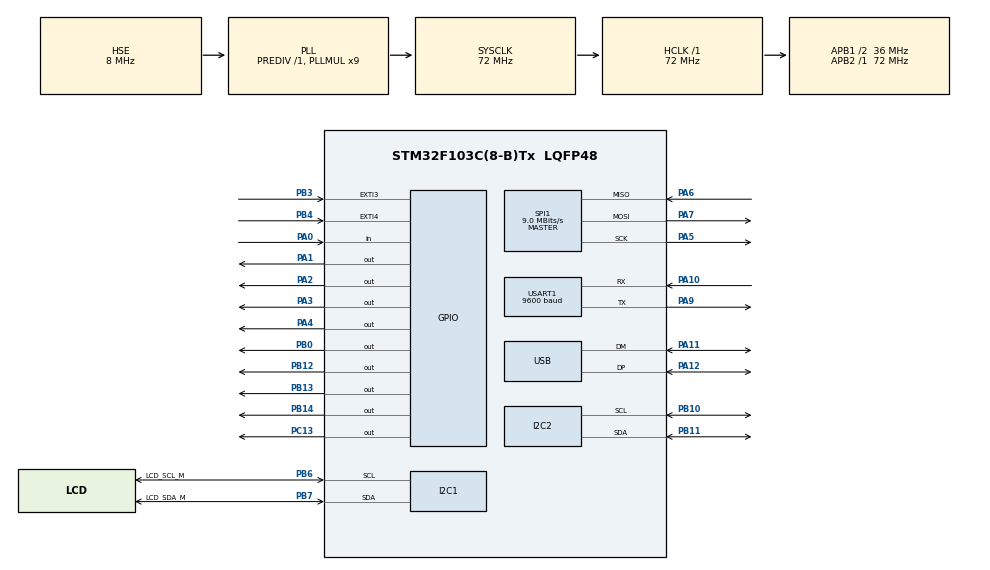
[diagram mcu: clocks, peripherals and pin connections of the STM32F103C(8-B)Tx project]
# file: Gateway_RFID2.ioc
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Mcu.Family=STM32F1
Mcu.Name=STM32F103C(8-B)Tx
Mcu.Package=LQFP48
NVIC.EXTI3_IRQn=true\:0\:0\:false\:false\:true\:true\:true\:true
NVIC.EXTI4_IRQn=true\:0\:0\:false\:false\:true\:true\:true\:true
NVIC.PriorityGroup=NVIC_PRIORITYGROUP_4
NVIC.TIM4_IRQn=true\:0\:0\:false\:false\:true\:true\:true\:true
NVIC.USART1_IRQn=true\:0\:0\:false\:false\:true\:true\:true\:true
NVIC.USB_LP_CAN1_RX0_IRQn=true\:0\:0\:false\:false\:true\:false\:true\:true
PA0-WKUP.Signal=GPIO_Input
PA1.Signal=GPIO_Output
PA10.Mode=Asynchronous
PA10.Signal=USART1_RX
PA11.Mode=Device
PA11.Signal=USB_DM
PA12.Mode=Device
PA12.Signal=USB_DP
PA13.Mode=Serial_Wire
PA13.Signal=SYS_JTMS-SWDIO
PA14.Mode=Serial_Wire
PA14.Signal=SYS_JTCK-SWCLK
PA2.Signal=GPIO_Output
PA3.Signal=GPIO_Output
PA4.Signal=GPIO_Output
PA5.Mode=Full_Duplex_Master
PA5.Signal=SPI1_SCK
PA6.Mode=Full_Duplex_Master
PA6.Signal=SPI1_MISO
PA7.Mode=Full_Duplex_Master
PA7.Signal=SPI1_MOSI
PA9.Mode=Asynchronous
PA9.Signal=USART1_TX
PB0.Signal=GPIO_Output
PB10.Mode=I2C
PB10.Signal=I2C2_SCL
PB11.Mode=I2C
PB11.Signal=I2C2_SDA
PB12.Signal=GPIO_Output
PB13.Signal=GPIO_Output
PB14.Signal=GPIO_Output
PB3.GPIO_ModeDefaultEXTI=GPIO_MODE_IT_FALLING
PB3.GPIO_PuPd=GPIO_PULLUP
PB3.Signal=GPXTI3
PB4.GPIO_ModeDefaultEXTI=GPIO_MODE_IT_FALLING
PB4.GPIO_PuPd=GPIO_PULLUP
PB4.Signal=GPXTI4
PB6.GPIO_Label=LCD_SCL_M
PB6.Mode=I2C
PB6.Signal=I2C1_SCL
PB7.GPIO_Label=LCD_SDA_M
PB7.Mode=I2C
PB7.Signal=I2C1_SDA
PC13-TAMPER-RTC.Signal=GPIO_Output
PD0-OSC_IN.Mode=HSE-External-Oscillator
PD0-OSC_IN.Signal=RCC_OSC_IN
PD1-OSC_OUT.Mode=HSE-External-Oscillator
PD1-OSC_OUT.Signal=RCC_OSC_OUT
ProjectManager.HeapSize=0x200
ProjectManager.StackSize=0x400
ProjectManager.TargetToolchain=STM32CubeIDE
RCC.AHBFreq_Value=72000000
RCC.APB1CLKDivider=RCC_HCLK_DIV2
RCC.APB1Freq_Value=36000000
RCC.APB1TimFreq_Value=72000000
RCC.APB2Freq_Value=72000000
RCC.APB2TimFreq_Value=72000000
RCC.HCLKFreq_Value=72000000
RCC.PLLMUL=RCC_PLL_MUL9
RCC.PLLSourceVirtual=RCC_PLLSOURCE_HSE
RCC.SYSCLKFreq_VALUE=72000000
RCC.SYSCLKSource=RCC_SYSCLKSOURCE_PLLCLK
RCC.USBFreq_Value=48000000
RCC.USBPrescaler=RCC_USBCLKSOURCE_PLL_DIV1_5
SPI1.BaudRatePrescaler=SPI_BAUDRATEPRESCALER_8
SPI1.CalculateBaudRate=9.0 MBits/s
SPI1.Direction=SPI_DIRECTION_2LINES
SPI1.Mode=SPI_MODE_MASTER
SPI1.VirtualType=VM_MASTER
TIM1.Period=0xffff-1
TIM1.Prescaler=72-1
TIM4.Period=19999
TIM4.Prescaler=7199
USART1.BaudRate=9600
USART1.VirtualMode=VM_ASYNC
USB_DEVICE.CLASS_NAME_FS=CDC
USB_DEVICE.VirtualMode=Cdc
USB_DEVICE.VirtualModeFS=Cdc_FS
VP_TIM1_VS_ClockSourceINT.Mode=Internal
VP_TIM4_VS_ClockSourceINT.Mode=Internal
VP_USB_DEVICE_VS_USB_DEVICE_CDC_FS.Mode=CDC_FS
board=custom

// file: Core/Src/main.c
/* USER CODE BEGIN Header */
/**
  ******************************************************************************
  * @file           : main.c
  * @brief          : Main program body
  ******************************************************************************
  * @attention
  *
  * Copyright (c) 2024 STMicroelectronics.
  * All rights reserved.
  *
  * This software is licensed under terms that can be found in the LICENSE file
  * in the root directory of this software component.
  * If no LICENSE file comes with this software, it is provided AS-IS.
  *
  ******************************************************************************
  */
/* USER CODE END Header */
#include "main.h"
#include "usb_device.h"

/* USER CODE BEGIN Includes */
#include <stdlib.h>
#include <time.h>
#include "usbd_cdc_if.h"
#include "string.h"
#include "i2c-lcd.h"
#include "mfrc522.h"
/* USER CODE END Includes */

/* USER CODE BEGIN PTD */
//buffer usb
char TxBuffer[50];
char RxBuffer[64];
//buffer Uart1
uint8_t txBuffer_1[5];
uint8_t rxBuffer_1[5];
int dataValid;
uint8_t status;
uint8_t str[MAX_LEN]; // Max_LEN = 16
uint8_t sNum[5];
uint8_t slaveID_lst[2] ={0xf0,0xf1};

char fee=0;

uint8_t node_num=0;
uint8_t numSpace_pre_L1=32;
uint8_t numSpace_pre_L2=30;
uint8_t numSpace_L1=32;
uint8_t numSpace_L2=30;

char buf_numcar[16];
/* USER CODE END PTD */

/* USER CODE BEGIN PD */
#define stepsperrev 4096
/* USER CODE END PD */

I2C_HandleTypeDef hi2c1;
I2C_HandleTypeDef hi2c2;

SPI_HandleTypeDef hspi1;

TIM_HandleTypeDef htim1;
TIM_HandleTypeDef htim4;

UART_HandleTypeDef huart1;

void SystemClock_Config(void);
static void MX_GPIO_Init(void);
static void MX_I2C1_Init(void);
static void MX_SPI1_Init(void);
static void MX_TIM1_Init(void);
static void MX_USART1_UART_Init(void);
static void MX_I2C2_Init(void);
static void MX_TIM4_Init(void);

/* USER CODE BEGIN 0 */
void RS485_SendCommand(uint8_t slaveID)
{
    txBuffer_1[0] = slaveID;  // �?ịa chỉ Slave
    txBuffer_1[1] = '\n';     // Ký tự kết thúc
    HAL_UART_Transmit(&huart1, txBuffer_1, 5, HAL_MAX_DELAY);
}
void delay (uint16_t us)
{
  __HAL_TIM_SET_COUNTER(&htim1, 0);
  while (__HAL_TIM_GET_COUNTER(&htim1) < us);
}
void stepper_set_rpm (int rpm)  // Set rpm--> max 13, min 1,,,  went to 14 rev/min
{
	delay(60000000/stepsperrev/rpm);
}
void stepper_half_drive (int step)
{
  switch (step){
      case 0:
		  HAL_GPIO_WritePin(GPIOA, GPIO_PIN_0, GPIO_PIN_SET);   // IN1
		  HAL_GPIO_WritePin(GPIOA, GPIO_PIN_1, GPIO_PIN_RESET);   // IN2
		  HAL_GPIO_WritePin(GPIOA, GPIO_PIN_2, GPIO_PIN_RESET);   // IN3
		  HAL_GPIO_WritePin(GPIOA, GPIO_PIN_3, GPIO_PIN_RESET);   // IN4
		  break;

	  case 1:
		  HAL_GPIO_WritePin(GPIOA, GPIO_PIN_0, GPIO_PIN_SET);   // IN1
		  HAL_GPIO_WritePin(GPIOA, GPIO_PIN_1, GPIO_PIN_SET);   // IN2
		  HAL_GPIO_WritePin(GPIOA, GPIO_PIN_2, GPIO_PIN_RESET);   // IN3
		  HAL_GPIO_WritePin(GPIOA, GPIO_PIN_3, GPIO_PIN_RESET);   // IN4
		  break;

          case 2:
		  HAL_GPIO_WritePin(GPIOA, GPIO_PIN_0, GPIO_PIN_RESET);   // IN1
		  HAL_GPIO_WritePin(GPIOA, GPIO_PIN_1, GPIO_PIN_SET);   // IN2
		  HAL_GPIO_WritePin(GPIOA, GPIO_PIN_2, GPIO_PIN_RESET);   // IN3
		  HAL_GPIO_WritePin(GPIOA, GPIO_PIN_3, GPIO_PIN_RESET);   // IN4
		  break;

	  case 3:
		  HAL_GPIO_WritePin(GPIOA, GPIO_PIN_0, GPIO_PIN_RESET);   // IN1
		  HAL_GPIO_WritePin(GPIOA, GPIO_PIN_1, GPIO_PIN_SET);   // IN2
		  HAL_GPIO_WritePin(GPIOA, GPIO_PIN_2, GPIO_PIN_SET);   // IN3
		  HAL_GPIO_WritePin(GPIOA, GPIO_PIN_3, GPIO_PIN_RESET);   // IN4
		  break;

	  case 4:
		  HAL_GPIO_WritePin(GPIOA, GPIO_PIN_0, GPIO_PIN_RESET);   // IN1
		  HAL_GPIO_WritePin(GPIOA, GPIO_PIN_1, GPIO_PIN_RESET);   // IN2
		  HAL_GPIO_WritePin(GPIOA, GPIO_PIN_2, GPIO_PIN_SET);   // IN3
		  HAL_GPIO_WritePin(GPIOA, GPIO_PIN_3, GPIO_PIN_RESET);   // IN4
		  break;

	  case 5:
		  HAL_GPIO_WritePin(GPIOA, GPIO_PIN_0, GPIO_PIN_RESET);   // IN1
		  HAL_GPIO_WritePin(GPIOA, GPIO_PIN_1, GPIO_PIN_RESET);   // IN2
		  HAL_GPIO_WritePin(GPIOA, GPIO_PIN_2, GPIO_PIN_SET);   // IN3
		  HAL_GPIO_WritePin(GPIOA, GPIO_PIN_3, GPIO_PIN_SET);   // IN4
		  break;

	  case 6:
		  HAL_GPIO_WritePin(GPIOA, GPIO_PIN_0, GPIO_PIN_RESET);   // IN1
		  HAL_GPIO_WritePin(GPIOA, GPIO_PIN_1, GPIO_PIN_RESET);   // IN2
		  HAL_GPIO_WritePin(GPIOA, GPIO_PIN_2, GPIO_PIN_RESET);   // IN3
		  HAL_GPIO_WritePin(GPIOA, GPIO_PIN_3, GPIO_PIN_SET);   // IN4
		  break;

	  case 7:
		  HAL_GPIO_WritePin(GPIOA, GPIO_PIN_0, GPIO_PIN_SET);   // IN1
		  HAL_GPIO_WritePin(GPIOA, GPIO_PIN_1, GPIO_PIN_RESET);   // IN2
		  HAL_GPIO_WritePin(GPIOA, GPIO_PIN_2, GPIO_PIN_RESET);   // IN3
		  HAL_GPIO_WritePin(GPIOA, GPIO_PIN_3, GPIO_PIN_SET);   // IN4
		  break;

	}
}
void stepper_step_angle (float angle, int direction, int rpm) //direction-> 0 for CK, 1 for CCK
{
  float anglepersequence = 0.703125;  // 360 = 512 sequences
  int numberofsequences = (int) (angle/anglepersequence);
  for (int seq=0; seq<numberofsequences; seq++)
  {
	if (direction == 0)  // for clockwise
	{
      for (int step=7; step>=0; step--)
	  {
	    stepper_half_drive(step);
	    stepper_set_rpm(rpm);
	  }
	}
	else if (direction == 1)  // for anti-clockwise
	{
	  for (int step=0; step<=7; step++)
	  {
	    stepper_half_drive(step);
	    stepper_set_rpm(rpm);
	  }
	}
  }
}
float currentAngle = 0;
void Stepper_rotate (int angle, int rpm)
{
	int changeinangle = 0;
	changeinangle = angle-currentAngle;  // calculate the angle by which the motor needed to be rotated
	if (changeinangle > 0.71)  // clockwise
	{
		stepper_step_angle (changeinangle,0,rpm);
		currentAngle = angle;  // save the angle as current angle
	}
	else if (changeinangle <0.71) // CCK
	{
		changeinangle = -(changeinangle);
		stepper_step_angle (changeinangle,1,rpm);
		currentAngle = angle;
	}
}

void HAL_GPIO_EXTI_Callback(uint16_t GPIO_Pin)
{
	UNUSED(GPIO_Pin);
     if (GPIO_Pin == GPIO_PIN_4)
    {
        while(HAL_GPIO_ReadPin(GPIOB,GPIO_PIN_3)==0)
           {};
        lcd_set_i2c(&hi2c1);
        lcd_clear();
		HAL_GPIO_WritePin(GPIOB, GPIO_PIN_12, 1);
		HAL_GPIO_WritePin(GPIOB, GPIO_PIN_13, 0);
        Stepper_rotate(0, 13);

    }
    else if (GPIO_Pin == GPIO_PIN_3)
    {
      while(HAL_GPIO_ReadPin(GPIOB,GPIO_PIN_4)==0)
        {};
         lcd_set_i2c(&hi2c1);
         lcd_clear();
		 HAL_GPIO_WritePin(GPIOB, GPIO_PIN_13, 1);
		 HAL_GPIO_WritePin(GPIOB, GPIO_PIN_12, 0);
		 Stepper_rotate(90, 10);
    }
}
void HAL_UART_RxCpltCallback(UART_HandleTypeDef *huart)
{
    if (huart->Instance == USART1)
    {
        if (rxBuffer_1[0] == 0xF0)
        {
            numSpace_L1 = rxBuffer_1[1];

        }

        if (rxBuffer_1[0] == 0xF1)
		{
			numSpace_L2 = rxBuffer_1[1];
		}
		HAL_UART_Receive_IT(&huart1, rxBuffer_1, 5); // Continue receiving
     }
}

void HAL_TIM_PeriodElapsedCallback(TIM_HandleTypeDef *htim)
{
    if (htim->Instance == TIM4)  // Kiểm tra nếu ngắt từ Timer 3
    {
    	if (node_num==0)
    	{
    		RS485_SendCommand(slaveID_lst[0]);
    		node_num = 1;
    	}else if (node_num==1)
    	{
			RS485_SendCommand(slaveID_lst[1]);
			node_num = 0;
		}
    }
}
/* USER CODE END 0 */

int main(void)
{

  /* MCU Configuration--------------------------------------------------------*/

  /* Reset of all peripherals, Initializes the Flash interface and the Systick. */
  HAL_Init();

  /* Configure the system clock */
  SystemClock_Config();

  /* Initialize all configured peripherals */
  MX_GPIO_Init();
  MX_I2C1_Init();
  MX_USB_DEVICE_Init();
  MX_SPI1_Init();
  MX_TIM1_Init();
  MX_USART1_UART_Init();
  MX_I2C2_Init();
  MX_TIM4_Init();
  /* USER CODE BEGIN 2 */
  MFRC522_Init();
  lcd_set_i2c(&hi2c1);
  lcd_init();

  lcd_set_i2c(&hi2c2);
  lcd_init();
  lcd_clear();
  lcd_put_cur(0,0);
  lcd_send_string("L1 con: 32 cho");
  lcd_put_cur(1,0);
  lcd_send_string("L2 con: 30 cho");
  HAL_TIM_Base_Start(&htim1);
  HAL_TIM_Base_Start_IT(&htim4);
  HAL_UART_Receive_IT(&huart1, rxBuffer_1, 5);
//  HAL_TIM_Base_Start_IT(&htim3);
  /* USER CODE END 2 */

  /* Infinite loop */
  /* USER CODE BEGIN WHILE */
  while (1)
  {

		 dataValid=1;
		 memset(str, 0, sizeof(str));
		 status = MFRC522_Request(PICC_REQIDL, str);
		 if (status != MI_OK)
		 {
			 dataValid = 0;
		 }

		 status = MFRC522_Anticoll(str);
		 if (status != MI_OK)
		 {
			  dataValid = 0;
		 }
		  if (dataValid)
		  {
			  // Chuyển đổi dữ liệu từ byte sang dạng hex
			memcpy(sNum, str, 5);
			char hexBuffer[16];
			for (int i = 0; i < 5; i++)
			{
				sprintf(&hexBuffer[i * 3], "%02X ", sNum[i]);
	        }

			// Chuẩn bị chuỗi dữ liệu cần gửi qua USB
			sprintf(TxBuffer, "%s\n", hexBuffer);

			// Gửi dữ liệu qua USB
			CDC_Transmit_FS((uint8_t*)TxBuffer, strlen(TxBuffer));
				// Tín hiệu báo thành công

			 HAL_GPIO_WritePin(GPIOC, GPIO_PIN_13, 0);
			 HAL_GPIO_WritePin(GPIOB, GPIO_PIN_14, 0);

			HAL_Delay(1000);
		  } else
		  {
			  // Nếu không có dữ liệu hợp lệ
			  HAL_GPIO_WritePin(GPIOC, GPIO_PIN_13, 1);  // Tắt đèn LED báo ko có thẻ
			  HAL_GPIO_WritePin(GPIOB, GPIO_PIN_14, 1
					  );
	      }
//Hien thi tien
		  if (fee!=0){
		  	lcd_set_i2c(&hi2c1);
		    lcd_clear();
		    lcd_put_cur(0, 0);
		    lcd_send_string (RxBuffer);
		    fee =0;
		  }
		  if (numSpace_L1 != numSpace_pre_L1)
		  {
			  lcd_set_i2c(&hi2c2);
			  lcd_put_cur(0,0);
			  sprintf(buf_numcar,"L1 con: %d cho",(int)numSpace_L1);
			  lcd_send_string(buf_numcar);
			  numSpace_pre_L1 = numSpace_L1;
		  }
		  if (numSpace_L2 != numSpace_pre_L2)
		  {
			  lcd_set_i2c(&hi2c2);
			  lcd_put_cur(1,0);
			  sprintf(buf_numcar,"L2 con: %d cho",(int)numSpace_L2);
			  lcd_send_string(buf_numcar);
			  numSpace_pre_L2 = numSpace_L2;
		  }

    /* USER CODE END WHILE */

  }
}

void SystemClock_Config(void)
{
  RCC_OscInitTypeDef RCC_OscInitStruct = {0};
  RCC_ClkInitTypeDef RCC_ClkInitStruct = {0};
  RCC_PeriphCLKInitTypeDef PeriphClkInit = {0};

  /** Initializes the RCC Oscillators according to the specified parameters
  * in the RCC_OscInitTypeDef structure.
  */
  RCC_OscInitStruct.OscillatorType = RCC_OSCILLATORTYPE_HSE;
  RCC_OscInitStruct.HSEState = RCC_HSE_ON;
  RCC_OscInitStruct.HSEPredivValue = RCC_HSE_PREDIV_DIV1;
  RCC_OscInitStruct.HSIState = RCC_HSI_ON;
  RCC_OscInitStruct.PLL.PLLState = RCC_PLL_ON;
  RCC_OscInitStruct.PLL.PLLSource = RCC_PLLSOURCE_HSE;
  RCC_OscInitStruct.PLL.PLLMUL = RCC_PLL_MUL9;
  if (HAL_RCC_OscConfig(&RCC_OscInitStruct) != HAL_OK)
  {
    Error_Handler();
  }

  /** Initializes the CPU, AHB and APB buses clocks
  */
  RCC_ClkInitStruct.ClockType = RCC_CLOCKTYPE_HCLK|RCC_CLOCKTYPE_SYSCLK
                              |RCC_CLOCKTYPE_PCLK1|RCC_CLOCKTYPE_PCLK2;
  RCC_ClkInitStruct.SYSCLKSource = RCC_SYSCLKSOURCE_PLLCLK;
  RCC_ClkInitStruct.AHBCLKDivider = RCC_SYSCLK_DIV1;
  RCC_ClkInitStruct.APB1CLKDivider = RCC_HCLK_DIV2;
  RCC_ClkInitStruct.APB2CLKDivider = RCC_HCLK_DIV1;

  if (HAL_RCC_ClockConfig(&RCC_ClkInitStruct, FLASH_LATENCY_2) != HAL_OK)
  {
    Error_Handler();
  }
  PeriphClkInit.PeriphClockSelection = RCC_PERIPHCLK_USB;
  PeriphClkInit.UsbClockSelection = RCC_USBCLKSOURCE_PLL_DIV1_5;
  if (HAL_RCCEx_PeriphCLKConfig(&PeriphClkInit) != HAL_OK)
  {
    Error_Handler();
  }
}

static void MX_I2C1_Init(void)
{

  hi2c1.Instance = I2C1;
  hi2c1.Init.ClockSpeed = 100000;
  hi2c1.Init.DutyCycle = I2C_DUTYCYCLE_2;
  hi2c1.Init.OwnAddress1 = 0;
  hi2c1.Init.AddressingMode = I2C_ADDRESSINGMODE_7BIT;
  hi2c1.Init.DualAddressMode = I2C_DUALADDRESS_DISABLE;
  hi2c1.Init.OwnAddress2 = 0;
  hi2c1.Init.GeneralCallMode = I2C_GENERALCALL_DISABLE;
  hi2c1.Init.NoStretchMode = I2C_NOSTRETCH_DISABLE;
  if (HAL_I2C_Init(&hi2c1) != HAL_OK)
  {
    Error_Handler();
  }

}

static void MX_I2C2_Init(void)
{

  hi2c2.Instance = I2C2;
  hi2c2.Init.ClockSpeed = 100000;
  hi2c2.Init.DutyCycle = I2C_DUTYCYCLE_2;
  hi2c2.Init.OwnAddress1 = 0;
  hi2c2.Init.AddressingMode = I2C_ADDRESSINGMODE_7BIT;
  hi2c2.Init.DualAddressMode = I2C_DUALADDRESS_DISABLE;
  hi2c2.Init.OwnAddress2 = 0;
  hi2c2.Init.GeneralCallMode = I2C_GENERALCALL_DISABLE;
  hi2c2.Init.NoStretchMode = I2C_NOSTRETCH_DISABLE;
  if (HAL_I2C_Init(&hi2c2) != HAL_OK)
  {
    Error_Handler();
  }

}

static void MX_SPI1_Init(void)
{

  /* SPI1 parameter configuration*/
  hspi1.Instance = SPI1;
  hspi1.Init.Mode = SPI_MODE_MASTER;
  hspi1.Init.Direction = SPI_DIRECTION_2LINES;
  hspi1.Init.DataSize = SPI_DATASIZE_8BIT;
  hspi1.Init.CLKPolarity = SPI_POLARITY_LOW;
  hspi1.Init.CLKPhase = SPI_PHASE_1EDGE;
  hspi1.Init.NSS = SPI_NSS_SOFT;
  hspi1.Init.BaudRatePrescaler = SPI_BAUDRATEPRESCALER_8;
  hspi1.Init.FirstBit = SPI_FIRSTBIT_MSB;
  hspi1.Init.TIMode = SPI_TIMODE_DISABLE;
  hspi1.Init.CRCCalculation = SPI_CRCCALCULATION_DISABLE;
  hspi1.Init.CRCPolynomial = 10;
  if (HAL_SPI_Init(&hspi1) != HAL_OK)
  {
    Error_Handler();
  }

}

static void MX_TIM1_Init(void)
{

  TIM_ClockConfigTypeDef sClockSourceConfig = {0};
  TIM_MasterConfigTypeDef sMasterConfig = {0};

  htim1.Instance = TIM1;
  htim1.Init.Prescaler = 72-1;
  htim1.Init.CounterMode = TIM_COUNTERMODE_UP;
  htim1.Init.Period = 0xffff-1;
  htim1.Init.ClockDivision = TIM_CLOCKDIVISION_DIV1;
  htim1.Init.RepetitionCounter = 0;
  htim1.Init.AutoReloadPreload = TIM_AUTORELOAD_PRELOAD_DISABLE;
  if (HAL_TIM_Base_Init(&htim1) != HAL_OK)
  {
    Error_Handler();
  }
  sClockSourceConfig.ClockSource = TIM_CLOCKSOURCE_INTERNAL;
  if (HAL_TIM_ConfigClockSource(&htim1, &sClockSourceConfig) != HAL_OK)
  {
    Error_Handler();
  }
  sMasterConfig.MasterOutputTrigger = TIM_TRGO_RESET;
  sMasterConfig.MasterSlaveMode = TIM_MASTERSLAVEMODE_DISABLE;
  if (HAL_TIMEx_MasterConfigSynchronization(&htim1, &sMasterConfig) != HAL_OK)
  {
    Error_Handler();
  }

}

static void MX_TIM4_Init(void)
{

  TIM_ClockConfigTypeDef sClockSourceConfig = {0};
  TIM_MasterConfigTypeDef sMasterConfig = {0};

  htim4.Instance = TIM4;
  htim4.Init.Prescaler = 7199;
  htim4.Init.CounterMode = TIM_COUNTERMODE_UP;
  htim4.Init.Period = 19999;
  htim4.Init.ClockDivision = TIM_CLOCKDIVISION_DIV1;
  htim4.Init.AutoReloadPreload = TIM_AUTORELOAD_PRELOAD_DISABLE;
  if (HAL_TIM_Base_Init(&htim4) != HAL_OK)
  {
    Error_Handler();
  }
  sClockSourceConfig.ClockSource = TIM_CLOCKSOURCE_INTERNAL;
  if (HAL_TIM_ConfigClockSource(&htim4, &sClockSourceConfig) != HAL_OK)
  {
    Error_Handler();
  }
  sMasterConfig.MasterOutputTrigger = TIM_TRGO_RESET;
  sMasterConfig.MasterSlaveMode = TIM_MASTERSLAVEMODE_DISABLE;
  if (HAL_TIMEx_MasterConfigSynchronization(&htim4, &sMasterConfig) != HAL_OK)
  {
    Error_Handler();
  }

}

static void MX_USART1_UART_Init(void)
{

  huart1.Instance = USART1;
  huart1.Init.BaudRate = 9600;
  huart1.Init.WordLength = UART_WORDLENGTH_8B;
  huart1.Init.StopBits = UART_STOPBITS_1;
  huart1.Init.Parity = UART_PARITY_NONE;
  huart1.Init.Mode = UART_MODE_TX_RX;
  huart1.Init.HwFlowCtl = UART_HWCONTROL_NONE;
  huart1.Init.OverSampling = UART_OVERSAMPLING_16;
  if (HAL_UART_Init(&huart1) != HAL_OK)
  {
    Error_Handler();
  }

}

static void MX_GPIO_Init(void)
{
  GPIO_InitTypeDef GPIO_InitStruct = {0};

  /* GPIO Ports Clock Enable */
  __HAL_RCC_GPIOC_CLK_ENABLE();
  __HAL_RCC_GPIOD_CLK_ENABLE();
  __HAL_RCC_GPIOA_CLK_ENABLE();
  __HAL_RCC_GPIOB_CLK_ENABLE();

  /*Configure GPIO pin Output Level */
  HAL_GPIO_WritePin(GPIOC, GPIO_PIN_13, GPIO_PIN_RESET);

  /*Configure GPIO pin Output Level */
  HAL_GPIO_WritePin(GPIOA, GPIO_PIN_1|GPIO_PIN_2|GPIO_PIN_3|GPIO_PIN_4, GPIO_PIN_RESET);

  /*Configure GPIO pin Output Level */
  HAL_GPIO_WritePin(GPIOB, GPIO_PIN_0|GPIO_PIN_12|GPIO_PIN_13|GPIO_PIN_14, GPIO_PIN_RESET);

  /*Configure GPIO pin : PC13 */
  GPIO_InitStruct.Pin = GPIO_PIN_13;
  GPIO_InitStruct.Mode = GPIO_MODE_OUTPUT_PP;
  GPIO_InitStruct.Pull = GPIO_NOPULL;
  GPIO_InitStruct.Speed = GPIO_SPEED_FREQ_LOW;
  HAL_GPIO_Init(GPIOC, &GPIO_InitStruct);

  /*Configure GPIO pin : PA0 */
  GPIO_InitStruct.Pin = GPIO_PIN_0;
  GPIO_InitStruct.Mode = GPIO_MODE_INPUT;
  GPIO_InitStruct.Pull = GPIO_NOPULL;
  HAL_GPIO_Init(GPIOA, &GPIO_InitStruct);

  /*Configure GPIO pins : PA1 PA2 PA3 PA4 */
  GPIO_InitStruct.Pin = GPIO_PIN_1|GPIO_PIN_2|GPIO_PIN_3|GPIO_PIN_4;
  GPIO_InitStruct.Mode = GPIO_MODE_OUTPUT_PP;
  GPIO_InitStruct.Pull = GPIO_NOPULL;
  GPIO_InitStruct.Speed = GPIO_SPEED_FREQ_LOW;
  HAL_GPIO_Init(GPIOA, &GPIO_InitStruct);

  /*Configure GPIO pins : PB0 PB12 PB13 PB14 */
  GPIO_InitStruct.Pin = GPIO_PIN_0|GPIO_PIN_12|GPIO_PIN_13|GPIO_PIN_14;
  GPIO_InitStruct.Mode = GPIO_MODE_OUTPUT_PP;
  GPIO_InitStruct.Pull = GPIO_NOPULL;
  GPIO_InitStruct.Speed = GPIO_SPEED_FREQ_LOW;
  HAL_GPIO_Init(GPIOB, &GPIO_InitStruct);

  /*Configure GPIO pins : PB3 PB4 */
  GPIO_InitStruct.Pin = GPIO_PIN_3|GPIO_PIN_4;
  GPIO_InitStruct.Mode = GPIO_MODE_IT_FALLING;
  GPIO_InitStruct.Pull = GPIO_PULLUP;
  HAL_GPIO_Init(GPIOB, &GPIO_InitStruct);

  /* EXTI interrupt init*/
  HAL_NVIC_SetPriority(EXTI3_IRQn, 0, 0);
  HAL_NVIC_EnableIRQ(EXTI3_IRQn);

  HAL_NVIC_SetPriority(EXTI4_IRQn, 0, 0);
  HAL_NVIC_EnableIRQ(EXTI4_IRQn);

}

void Error_Handler(void)
{
  __disable_irq();
  while (1)
  {
  }
}
